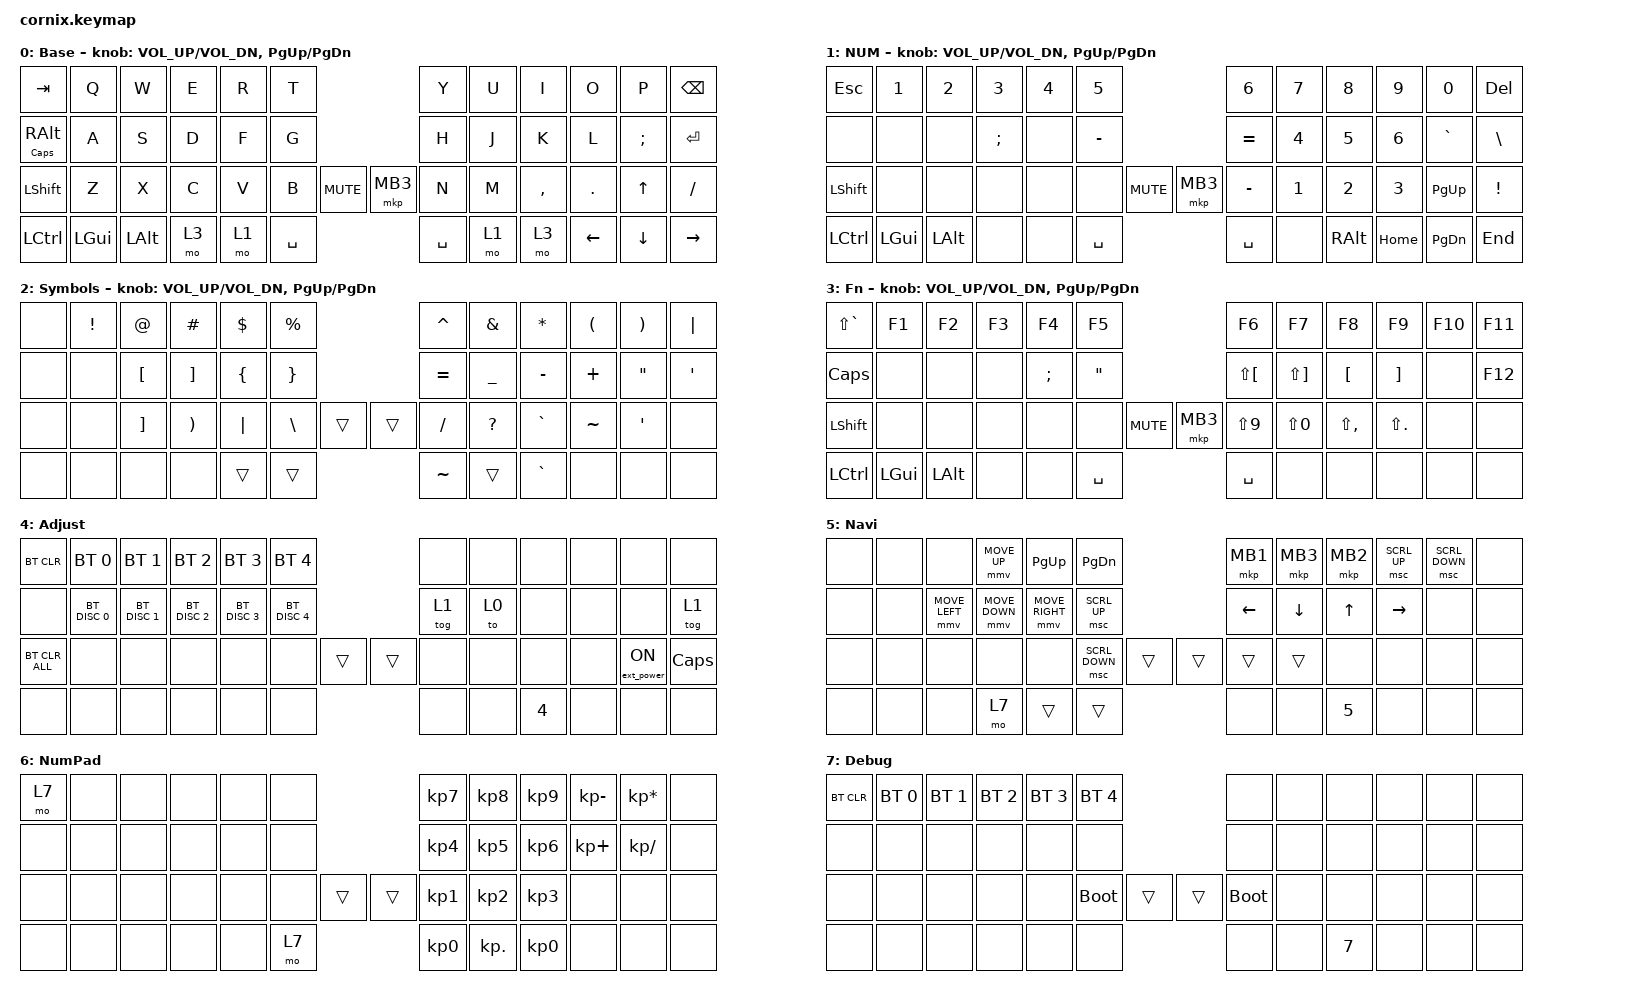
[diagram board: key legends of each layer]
/*
 * Copyright (c) 2020 The ZMK Contributors
 *
 * SPDX-License-Identifier: MIT
 */

#include "zmk-helpers/helper.h"
#include "includes/cornix54.h"

// tap windows for ctl alt and gui

#define HM_TAPPING_TERM 250
#define HM_TAPPING_REPEAT 210

// quick tapping for shift

#define HM_TAPPING_TERM_FAST 200
#define HM_PRIOR_IDLE 70
#define BASE 0
#define WIN 1
#define LOWER 2
#define RAISE 3
#define ADJUST 4
#define NAVI   5
#define NUM    6
#define DEBUG  7

// https://github.com/urob/zmk-config/tree/main#timeless-homerow-mods

#define KEYS_L LT0 LT1 LT2 LT3 LT4 LT5 LM0 LM1 LM2 LM3 LM4 LM5 LB0 LB1 LB2 LB3 LB4 LB5  // left hand
#define KEYS_R RT0 RT1 RT2 RT3 RT4 RT5 RM0 RM1 RM2 RM3 RM4 RM5 RB0 RB1 RB2 RB3 RB4 RB5  // right hand
#define THUMBS LH1 LH0 RH0 RH1
#define KEYS_T LH1 LH0 RH0 RH1
#define ZMK_POINTING_DEFAULT_SCRL_VAL 15

#include <behaviors.dtsi>
#include <dt-bindings/zmk/bt.h>
#include <dt-bindings/zmk/ext_power.h>
#include <dt-bindings/zmk/keys.h>
#include <dt-bindings/zmk/pointing.h>

/ {
    // Activate ADJUST layer by pressing raise and lower

    behaviors {
        hm_l: homerow_mods_left {
            compatible = "zmk,behavior-hold-tap";
            #binding-cells = <2>;
            bindings = <&kp>, <&kp>;

            flavor = "balanced";
            tapping-term-ms = <HM_TAPPING_TERM>;
            quick-tap-ms = <200>;                // repeat on tap-into-hold
            require-prior-idle-ms = <HM_PRIOR_IDLE>;
            hold-trigger-key-positions = <KEYS_R KEYS_T>;
            hold-trigger-on-release;
        };

        hm_r: homerow_mods_right {
            compatible = "zmk,behavior-hold-tap";
            #binding-cells = <2>;
            bindings = <&kp>, <&kp>;

            flavor = "balanced";
            tapping-term-ms = <HM_TAPPING_TERM>;
            quick-tap-ms = <200>;
            require-prior-idle-ms = <HM_PRIOR_IDLE>;
            hold-trigger-key-positions = <KEYS_L KEYS_T>;
            hold-trigger-on-release;
        };

        // Positional Homerow mods for shift
        // Use faster tapping term and disable some features that may
        // cause false negatives.

        hm_shift_l: hm_shift_l {
            compatible = "zmk,behavior-hold-tap";
            #binding-cells = <2>;
            bindings = <&kp>, <&kp>;

            //flavor = "balanced";

            flavor = "balanced";
            tapping-term-ms = <HM_TAPPING_TERM_FAST>;
            quick-tap-ms = <200>;
            require-prior-idle-ms = <HM_PRIOR_IDLE>;
            hold-trigger-key-positions = <KEYS_R KEYS_T>;
            hold-trigger-on-release;
        };

        hm_shift_r: hm_shift_r {
            compatible = "zmk,behavior-hold-tap";
            #binding-cells = <2>;
            bindings = <&kp>, <&kp>;

            flavor = "balanced";
            tapping-term-ms = <HM_TAPPING_TERM_FAST>;
            quick-tap-ms = <200>;
            require-prior-idle-ms = <HM_PRIOR_IDLE>;
            hold-trigger-key-positions = <KEYS_L KEYS_T>;

            // for quick tapping; shift+~

            hold-trigger-on-release;
        };

        /*
         * Non-Positional Homerow Mods
         * Used for &mm_grescm_gui behavior on left hand.
         *
         * Usage: &hm LSHFT T
         * Tap: T
         * Tap-Tap-Hold: Repeat T
         * Hold: LSHIFT
         */

        hm: homerow_mods {
            compatible = "zmk,behavior-hold-tap";
            #binding-cells = <2>;
            bindings = <&kp>, <&kp>;

            flavor = "balanced";
            tapping-term-ms = <HM_TAPPING_TERM>;
            quick-tap-ms = <200>;
        };

        lt: layer_tap {
            compatible = "zmk,behavior-hold-tap";
            #binding-cells = <2>;
            bindings = <&mo>, <&kp>;

            flavor = "hold-preferred";
            tapping-term-ms = <HM_TAPPING_TERM>;
            quick-tap-ms = <200>;
        };

        lang_shift: lang_shift {
            compatible = "zmk,behavior-hold-tap";
            label = "LANG_SHIFT";
            bindings = <&kp>, <&kp>;

            #binding-cells = <2>;
            tapping-term-ms = <200>;
        };
    };

    conditional_layers {
        compatible = "zmk,conditional-layers";

        adjust_layer {
            if-layers = <3 2>;
            then-layer = <4>;
        };
    };

    combos {
        compatible = "zmk,combos";

        layer3 {
            bindings = <&kp LEFT_PARENTHESIS>;
            key-positions = <19 20>;
        };

        aaaaa {
            bindings = <&kp RIGHT_PARENTHESIS>;
            key-positions = <20 21>;
        };

        a {
            bindings = <&kp LEFT_BRACKET>;
            key-positions = <8 7>;
        };

        aa {
            bindings = <&kp RIGHT_BRACKET>;
            key-positions = <9 8>;
        };

        esc {
            bindings = <&kp ESC>;
            key-positions = <1 0>;
        };

        nm {
            bindings = <&kp B>;
            key-positions = <32 33>;
        };

        aaa {
            bindings = <&kp SQT>;
            key-positions = <22 21>;
        };

        DD {
            bindings = <&kp LEFT_BRACE>;
            key-positions = <19 20 24>;
        };

        AAA {
            bindings = <&kp RIGHT_BRACE>;
            key-positions = <24 20 21>;
        };
    };

    keymap {
        compatible = "zmk,keymap";

        default_layer {
            display-name = "Base";

            // ------------------------------------------------------------------------------------------------------------
            // |   `   |  1  |  2  |  3   |  4   |  5   |                   |  6   |  7    |  8    |  9   |   0   |       |
            // |  ESC  |  Q  |  W  |  E   |  R   |  T   |                   |  Y   |  U    |  I    |  O   |   P   | BKSPC |
            // |  TAB  |  A  |  S  |  D   |  F   |  G   |                   |  H   |  J    |  K    |  L   |   ;   |   '   |
            // | SHIFT |  Z  |  X  |  C   |  V   |  B   |  MUTE  |  |       |  N   |  M    |  ,    |  .   |   /   | SHIFT |
            //               | GUI | ALT  | CTRL | LOWER|  ENTER |  | SPACE | RAISE| CTRL  | ALT   | GUI  |

            bindings = <
&kp TAB                     &kp Q     &kp W     &kp E  &kp R  &kp T                            &kp Y      &kp U  &kp I      &kp O     &kp P     &kp BSPC
&lang_shift CAPS RIGHT_ALT  &kp A     &kp S     &kp D  &kp F  &kp G                            &kp H      &kp J  &kp K      &kp L     &kp SEMI  &kp RET
&kp LSHFT                   &kp Z     &kp X     &kp C  &kp V  &kp B      &kp C_MUTE  &mkp MB3  &kp N      &kp M  &kp COMMA  &kp DOT   &kp UP    &kp FSLH
&kp LCTRL                   &kp LGUI  &kp LALT  &mo 3  &mo 1  &kp SPACE                        &kp SPACE  &mo 1  &mo 3      &kp LEFT  &kp DOWN  &kp RIGHT
            >;

            sensor-bindings = <&inc_dec_kp C_VOL_UP C_VOL_DN &inc_dec_kp PG_UP PG_DN>;
        };

        num_layer {
            display-name = "NUM";

            // ------------------------------------------------------------------------------------------------------------
            // |   `   |  1  |  2  |  3   |  4   |  5   |                   |  6   |  7    |  8    |  9   |   0   |       |
            // |  ESC  |  Q  |  W  |  E   |  R   |  T   |                   |  Y   |  U    |  I    |  O   |   P   | BKSPC |
            // |  TAB  |  A  |  S  |  D   |  F   |  G   |                   |  H   |  J    |  K    |  L   |   ;   |   '   |
            // | SHIFT |  Z  |  X  |  C   |  V   |  B   |  MUTE  |  |       |  N   |  M    |  ,    |  .   |   /   | SHIFT |
            //               | GUI | ALT  | CTRL | LOWER|  ENTER |  | SPACE | RAISE| CTRL  | ALT   | GUI  |

            bindings = <
&kp ESC    &kp N1    &kp N2    &kp N3    &kp N4  &kp N5                           &kp N6     &kp N7  &kp N8    &kp N9    &kp N0     &kp DEL
&none      &none     &none     &kp SEMI  &none   &kp MINUS                        &kp EQUAL  &kp N4  &kp N5    &kp N6    &kp GRAVE  &kp BSLH
&kp LSHFT  &none     &none     &none     &none   &none      &kp C_MUTE  &mkp MB3  &kp MINUS  &kp N1  &kp N2    &kp N3    &kp PG_UP  &kp EXCLAMATION
&kp LCTRL  &kp LGUI  &kp LALT  &none     &none   &kp SPACE                        &kp SPACE  &none   &kp RALT  &kp HOME  &kp PG_DN  &kp END
            >;

            sensor-bindings = <&inc_dec_kp C_VOL_UP C_VOL_DN &inc_dec_kp PG_UP PG_DN>;
        };

        Symbol_layer {
            display-name = "Symbols";

            // TODO: Some binds are waiting for shifted keycode support.
            // -------------------------------
            // |       |  F1 |  F2 |  F3  |  F4  |  F5  |                   |  F6  |  F7   |  F8   |  F9  |  F10  |  F11  |
            // |   `   |  1  |  2  |  3   |  4   |  5   |                   |  6   |  7    |  8    |  9   |   0   |  F12  |
            // |       |  !  |  @  |  #   |  $   |  %   |                   |  ^   |  &    |  *    |  (   |   )   |   |   |
            // |       |  =  |  -  |  +   |  {   |  }   |        |  |       |  [   |  ]    |  ;    |  :   |   \   |       |
            //               |     |      |      |      |        |  |       |      |       |       |      |

            bindings = <
&none  &kp EXCL  &kp AT    &kp HASH  &kp DLLR  &kp PRCNT                  &kp CARET  &kp AMPS      &kp ASTRK  &kp LPAR   &kp RPAR  &kp PIPE
&none  &none     &kp LBKT  &kp RBKT  &kp LBRC  &kp RBRC                   &kp EQUAL  &kp UNDER     &kp MINUS  &kp PLUS   &kp DQT   &kp SQT
&none  &none     &kp RBKT  &kp RPAR  &kp PIPE  &kp BSLH   &trans  &trans  &kp FSLH   &kp QUESTION  &kp GRAVE  &kp TILDE  &kp SQT   &none
&none  &none     &none     &none     &trans    &trans                     &kp TILDE  &trans        &kp GRAVE  &none      &none     &none
            >;

            sensor-bindings = <&inc_dec_kp C_VOL_UP C_VOL_DN &inc_dec_kp PG_UP PG_DN>;
        };

        Fn_layer {
            display-name = "Fn";

            // ------------------------------------------------------------------------------------------------------------
            // | BTCLR | BT1  | BT2  |  BT3  |  BT4  |  BT5 |                |      |      |       |      |       |       |
            // |       | INS  | PSCR | GUI   |       |      |                | PGUP |      |   ^   |      |       |       |
            // |       | ALT  | CTRL | SHIFT |       | CAPS |                | PGDN |   <- |   v   |  ->  |  DEL  | BKSPC |
            // |       | UNDO | CUT  | COPY  | PASTE |      |      |  |      |      |      |       |      |       |       |
            //                |      |       |       |      |      |  |      |      |      |       |      |

            bindings = <
&kp LS(GRAVE)  &kp F1    &kp F2    &kp F3  &kp F4    &kp F5                           &kp F6        &kp F7        &kp F8         &kp F9       &kp F10  &kp F11
&kp CAPS       &none     &none     &none   &kp SEMI  &kp DQT                          &kp LS(LBKT)  &kp LS(RBKT)  &kp LBKT       &kp RBKT     &none    &kp F12
&kp LSHFT      &none     &none     &none   &none     &none      &kp C_MUTE  &mkp MB3  &kp LS(N9)    &kp LS(N0)    &kp LS(COMMA)  &kp LS(DOT)  &none    &none
&kp LCTRL      &kp LGUI  &kp LALT  &none   &none     &kp SPACE                        &kp SPACE     &none         &none          &none        &none    &none
            >;

            sensor-bindings = <&inc_dec_kp C_VOL_UP C_VOL_DN &inc_dec_kp PG_UP PG_DN>;
        };

        Adjust_layer {
            display-name = "Adjust";

            // ----------------------------------------------------------------------------------------------------------------------------
            // | BTCLR  |  BT1    |  BT2    |   BT3   |   BT4   |   BT5   |                  |      |      |       |      |       |       |
            // | moDEBUG| RGB_HUD | RGB_HUI | RGB_SAD | RGB_SAI | RGB_EFF |                  |      |      |       |      |       |       |
            // | EXTPWR | RGB_BRD | RGB_BRI |         |         |         |                  |      |      |       |      |       |       |
            // |        |         |         |         |         |         | RGB_TOG | |      |      |      |       |      |       |       |
            //                    |         |         |         |         |         | |      |      |      |       |      |

            bindings = <
&bt BT_CLR      &bt BT_SEL 0   &bt BT_SEL 1   &bt BT_SEL 2   &bt BT_SEL 3   &bt BT_SEL 4                   &none   &none  &none   &none  &none             &none
&none           &bt BT_DISC 0  &bt BT_DISC 1  &bt BT_DISC 2  &bt BT_DISC 3  &bt BT_DISC 4                  &tog 1  &to 0  &none   &none  &none             &tog 1
&bt BT_CLR_ALL  &none          &none          &none          &none          &none          &trans  &trans  &none   &none  &none   &none  &ext_power EP_ON  &kp CAPSLOCK
&none           &none          &none          &none          &none          &none                          &none   &none  &kp N4  &none  &none             &none
            >;
        };

        Navi_layer {
            display-name = "Navi";
            bindings = <
&none  &none  &none           &mmv MOVE_UP    &kp PAGE_UP      &kp PAGE_DOWN                   &mkp MB1  &mkp MB3  &mkp MB2  &msc SCRL_UP  &msc SCRL_DOWN  &none
&none  &none  &mmv MOVE_LEFT  &mmv MOVE_DOWN  &mmv MOVE_RIGHT  &msc SCRL_UP                    &kp LEFT  &kp DOWN  &kp UP    &kp RIGHT     &none           &none
&none  &none  &none           &none           &none            &msc SCRL_DOWN  &trans  &trans  &trans    &trans    &none     &none         &none           &none
&none  &none  &none           &mo 7           &trans           &trans                          &none     &none     &kp N5    &none         &none           &none
            >;
        };

        KeyPad_layer {
            display-name = "NumPad";
            bindings = <
&mo 7  &none  &none  &none  &none  &none                  &kp KP_N7        &kp KP_N8        &kp KP_N9        &kp KP_MINUS  &kp KP_MULTIPLY  &none
&none  &none  &none  &none  &none  &none                  &kp KP_NUMBER_4  &kp KP_NUMBER_5  &kp KP_N6        &kp KP_PLUS   &kp KP_DIVIDE    &none
&none  &none  &none  &none  &none  &none  &trans  &trans  &kp KP_NUMBER_1  &kp KP_NUMBER_2  &kp KP_N3        &none         &none            &none
&none  &none  &none  &none  &none  &mo 7                  &kp KP_N0        &kp KP_DOT       &kp KP_NUMBER_0  &none         &none            &none
            >;
        };

        Debug_layer {
            display-name = "Debug";

            // ----------------------------------------------------------------------------------------------------------------------------
            // | BTCLR  |  BT1    |  BT2    |   BT3   |   BT4   |   BT5   |                  |      |      |       |      |       |       |
            // | EXTPWR | BTCLR | RGB_HUI | RGB_SAD | RGB_SAI | RGB_EFF |                  |      |      |       |      |       |       |
            // |        | RGB_BRD | RGB_BRI |         |         |         |                  |      |      |       |      |       |       |
            // |        |         |         |         |         |         | RGB_TOG | |      |      |      |       |      |       |       |
            //                    |         |         |         |         |         | |      |      |      |       |      |

            bindings = <
&bt BT_CLR  &bt BT_SEL 0  &bt BT_SEL 1  &bt BT_SEL 2  &bt BT_SEL 3  &bt BT_SEL 4                  &none        &none  &none   &none  &none  &none
&none       &none         &none         &none         &none         &none                         &none        &none  &none   &none  &none  &none
&none       &none         &none         &none         &none         &bootloader   &trans  &trans  &bootloader  &none  &none   &none  &none  &none
&none       &none         &none         &none         &none         &none                         &none        &none  &kp N7  &none  &none  &none
            >;
        };
    };
};
